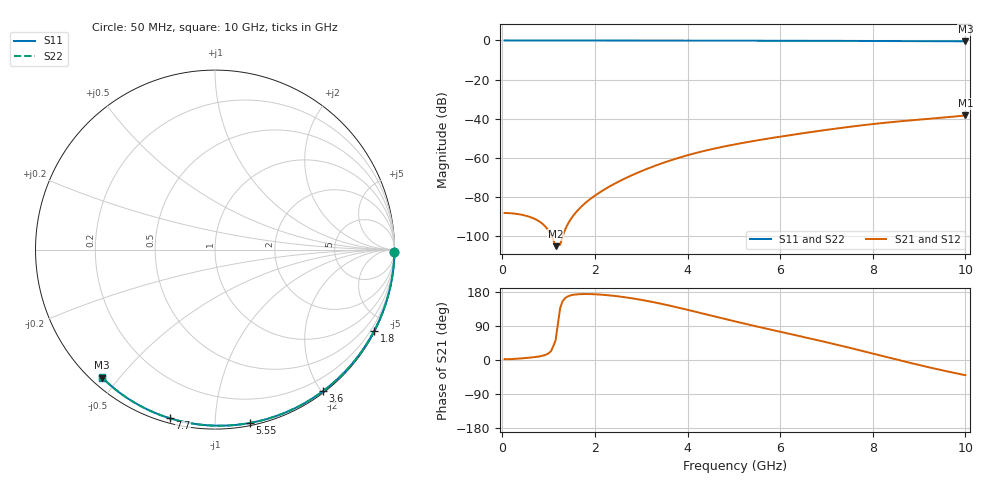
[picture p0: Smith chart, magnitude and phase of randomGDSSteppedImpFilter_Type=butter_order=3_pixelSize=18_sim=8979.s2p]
! freq	dB(S11)	phase(S11)	dB(S12)	phase(S12)
!  dB(S21)	phase(S21)	dB(S22)	phase(S22)
!S-par simulation data
#  GHz  S  DB  R 50
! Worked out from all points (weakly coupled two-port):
!   200 points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, 50 MHz to 10 GHz, reference 50 ohm
!   highest |S21| = -38.35 dB at 10 GHz (marker M1); lowest = -105.2 dB at 1.15 GHz (marker M2)
!   lowest |S11| = -0.4 dB at 10 GHz (marker M3), VSWR 39.15, Z = 1.54 - j22.6 ohm
!   |S11| at or under -10 dB: nowhere
!   |S22| runs from -0.4 to 0.0 dB; largest |S21 - S12| = 0
!   S11 on the Smith chart (normalised r, x): 50 MHz: open; 1.8 GHz: 0.04, -4.18; 3.6 GHz: 0.02, -2.02; 5.55 GHz: 0.02, -1.22; 7.7 GHz: 0.02, -0.77; 10 GHz: 0.03, -0.45
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0.05  -0.00 -0.8  -88.26 2.6  -88.26 2.6  -0.00 -0.8
0.6  -0.01 -9.1  -90.33 6.3  -90.33 6.3  -0.01 -9.1
1.15  -0.02 -17.3  -105.25 51.5  -105.25 51.5  -0.02 -17.3
1.75  -0.03 -26.2  -84.06 174.1  -84.06 174.1  -0.03 -26.2
1.8  -0.03 -26.9  -83.01 174.1  -83.01 174.1  -0.03 -26.9
1.95  -0.04 -29.1  -80.22 173.7  -80.22 173.7  -0.04 -29.1
2.35  -0.05 -34.9  -74.25 170.1  -74.25 170.1  -0.05 -35.0
2.65  -0.05 -39.3  -70.59 165.6  -70.59 165.6  -0.05 -39.3
3  -0.06 -44.3  -66.89 158.8  -66.89 158.8  -0.06 -44.3
3.4  -0.07 -49.9  -63.24 149.2  -63.24 149.2  -0.07 -49.9
3.6  -0.07 -52.7  -61.61 143.9  -61.61 143.9  -0.07 -52.7
3.95  -0.08 -57.5  -59.07 133.9  -59.07 133.9  -0.08 -57.5
4.3  -0.09 -62.2  -56.86 123.5  -56.86 123.5  -0.09 -62.3
4.65  -0.10 -66.9  -54.94 113.0  -54.94 113.0  -0.10 -66.9
5.05  -0.11 -72.2  -53.03 101.2  -53.03 101.2  -0.11 -72.2
5.55  -0.13 -78.7  -50.94 87.0  -50.94 87.0  -0.13 -78.7
6.1  -0.15 -85.6  -48.86 71.8  -48.86 71.8  -0.15 -85.6
6.7  -0.18 -93.0  -46.74 55.3  -46.74 55.3  -0.18 -93.0
7.7  -0.24 -105.0  -43.59 26.2  -43.59 26.2  -0.24 -105.1
8.35  -0.29 -112.6  -41.90 6.3  -41.90 6.3  -0.29 -112.6
9.15  -0.36 -121.8  -40.20 -17.5  -40.20 -17.5  -0.36 -121.8
10  -0.44 -131.4  -38.35 -40.2  -38.35 -40.2  -0.44 -131.4
